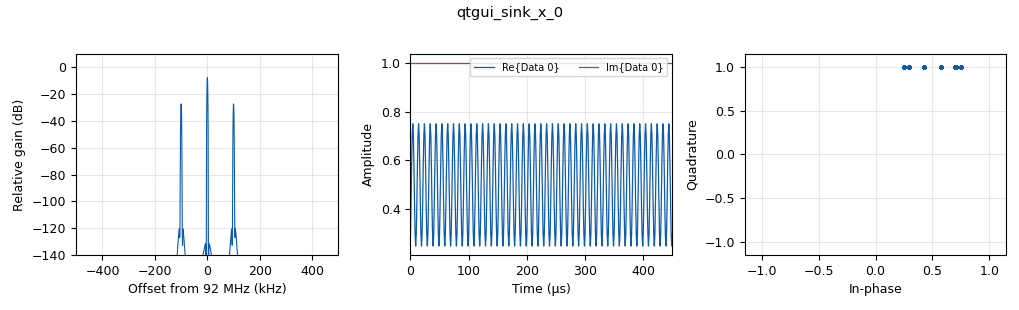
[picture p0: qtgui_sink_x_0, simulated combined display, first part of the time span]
options:
  parameters:
    author: SDuongR
    generate_options: qt_gui
    id: AM_Modulation
    output_language: python
    title: AM_Modulation
  states: {}

blocks:
- name: fc_rx
  id: variable
  parameters:
    value: '433920000'
  states: {}
- name: fc_shift
  id: variable
  parameters:
    value: '6000'
  states: {}
- name: fc_tx
  id: variable
  parameters:
    value: '433920000'
  states: {}
- name: mod_index
  id: variable
  parameters:
    value: '0.5'
  states: {}
- name: rf_gain
  id: variable_qtgui_range
  parameters:
    label: rf_gain
    start: '0'
    step: '1'
    stop: '89'
    value: '20'
  states: {}
- name: samp_rate
  id: variable
  parameters:
    value: '1000000'
  states: {}
- name: analog_const_source_x_1
  id: analog_const_source_x
  parameters:
    const: '1'
    type: float
  states: {}
- name: analog_const_source_x_1_0
  id: analog_const_source_x
  parameters:
    const: '1'
    type: float
  states: {}
- name: analog_sig_source_x_0
  id: analog_sig_source_x
  parameters:
    amp: '1'
    freq: '100000'
    offset: '0'
    phase: '0'
    samp_rate: samp_rate
    type: float
    waveform: analog.GR_COS_WAVE
  states: {}
- name: blocks_add_xx_0
  id: blocks_add_xx
  parameters:
    type: float
  states: {}
- name: blocks_float_to_complex_0
  id: blocks_float_to_complex
  parameters: {}
  states: {}
- name: blocks_multiply_const_vxx_0
  id: blocks_multiply_const_vxx
  parameters:
    const: mod_index
    type: float
  states: {}
- name: blocks_multiply_const_vxx_1
  id: blocks_multiply_const_vxx
  parameters:
    const: '0.5'
    type: float
  states: {}
- name: qtgui_sink_x_0
  id: qtgui_sink_x
  parameters:
    bw: samp_rate
    fc: '92000000'
    fftsize: '1024'
    type: complex
  states: {}
- name: qtgui_sink_x_0_0
  id: qtgui_sink_x
  parameters:
    bw: samp_rate
    fc: '72000000'
    fftsize: '1024'
    rate: '5'
    type: complex
  states: {}
- name: soapy_plutosdr_sink_0
  id: soapy_plutosdr_sink
  parameters:
    center_freq: fc_tx
    dev_args: usb:2.6.5
    samp_rate: samp_rate
    type: fc32
  states: {}
- name: soapy_plutosdr_source_0
  id: soapy_plutosdr_source
  parameters:
    center_freq: fc_rx
    dev_args: usb:2.6.5
    samp_rate: samp_rate
    type: fc32
  states: {}

connections:
- [analog_const_source_x_1, '0', blocks_add_xx_0, '1']
- [analog_const_source_x_1_0, '0', blocks_float_to_complex_0, '1']
- [analog_sig_source_x_0, '0', blocks_multiply_const_vxx_0, '0']
- [blocks_add_xx_0, '0', blocks_multiply_const_vxx_1, '0']
- [blocks_float_to_complex_0, '0', qtgui_sink_x_0, '0']
- [blocks_float_to_complex_0, '0', soapy_plutosdr_sink_0, '0']
- [blocks_multiply_const_vxx_0, '0', blocks_add_xx_0, '0']
- [blocks_multiply_const_vxx_1, '0', blocks_float_to_complex_0, '0']
- [soapy_plutosdr_source_0, '0', qtgui_sink_x_0_0, '0']

metadata:
  file_format: 1
  grc_version: 3.10.11.0
